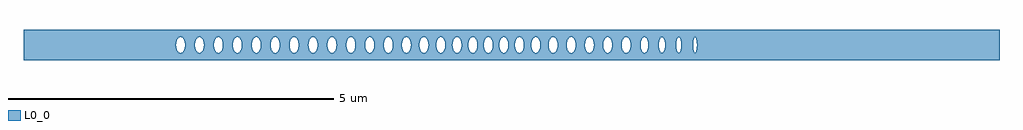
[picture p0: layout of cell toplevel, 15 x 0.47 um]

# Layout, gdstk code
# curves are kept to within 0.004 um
import gdstk
lib = gdstk.Library(unit=1e-6, precision=1e-09)
def P(c, l, *ps):  # polygons
    for p in ps: c.add(gdstk.Polygon(p, *l))
L0_0 = (0, 0)

toplevel = lib.new_cell('toplevel')
P(toplevel, L0_0, [(-4.574,0.016),(-4.559,0.078),(-4.559,0.235),(-7.5,0.235),(-7.5,-0.008),(-5.157,-0.008),(-5.155,0.031),(-5.141,0.079),(-5.12,0.109),(-5.091,0.124),(-5.064,0.118),(-5.041,0.096),(-5.022,0.053),(-5.016,-0.008),(-4.866,-0.008),(-4.864,0.031),(-4.85,0.079),(-4.829,0.109),(-4.8,0.124),(-4.774,0.118),(-4.75,0.096),(-4.738,0.073),(-4.725,0.016),(-4.728,-0.038),(-4.738,-0.073),(-4.761,-0.109),(-4.791,-0.124),(-4.817,-0.118),(-4.844,-0.09),(-4.861,-0.046),(-4.866,-0.008),(-5.016,-0.008),(-5.022,-0.053),(-5.041,-0.096),(-5.064,-0.118),(-5.082,-0.124),(-5.108,-0.118),(-5.131,-0.096),(-5.148,-0.06),(-5.157,-0.008),(-7.5,-0.008),(-7.5,-0.235),(-4.559,-0.235),(-4.559,-0.079),(-4.573,-0.031)],
  [(-4.556,0.085),(-4.526,0.118),(-4.509,0.124),(-4.491,0.122),(-4.467,0.105),(-4.447,0.073),(-4.437,0.038),(-4.434,-0.008),(-4.284,-0.008),(-4.281,0.038),(-4.259,0.096),(-4.227,0.122),(-4.2,0.122),(-4.176,0.105),(-4.159,0.079),(-4.145,0.031),(-4.143,-0.008),(-4.148,-0.046),(-4.162,-0.085),(-4.18,-0.109),(-4.209,-0.124),(-4.235,-0.118),(-4.259,-0.096),(-4.279,-0.046),(-4.284,-0.008),(-4.434,-0.008),(-4.447,-0.073),(-4.463,-0.1),(-4.483,-0.118),(-4.5,-0.124),(-4.526,-0.118),(-4.559,-0.079),(-4.559,-0.235),(-3.914,-0.235),(-3.914,-0.123),(-3.936,-0.122),(-3.968,-0.096),(-3.98,-0.073),(-3.993,-0.016),(-3.99,0.038),(-3.968,0.096),(-3.944,0.118),(-3.914,0.123),(-3.914,0.235),(-4.559,0.235)],
  [(-3.914,0.235),(-3.914,0.123),(-3.889,0.109),(-3.868,0.079),(-3.854,0.031),(-3.853,-0.016),(-3.702,-0.016),(-3.699,0.038),(-3.689,0.073),(-3.666,0.109),(-3.636,0.124),(-3.61,0.118),(-3.587,0.096),(-3.57,0.06),(-3.561,0.008),(-3.566,-0.046),(-3.58,-0.085),(-3.598,-0.109),(-3.627,-0.124),(-3.654,-0.118),(-3.677,-0.096),(-3.694,-0.06),(-3.702,-0.016),(-3.853,-0.016),(-3.871,-0.085),(-3.889,-0.109),(-3.914,-0.123),(-3.914,-0.235),(-3.281,-0.235),(-3.281,-0.066),(-3.307,-0.109),(-3.328,-0.122),(-3.354,-0.122),(-3.375,-0.109),(-3.392,-0.085),(-3.405,-0.053),(-3.411,-0.016),(-3.403,0.06),(-3.386,0.096),(-3.363,0.118),(-3.345,0.124),(-3.319,0.118),(-3.296,0.096),(-3.281,0.066),(-3.281,0.235)],
  [(-3.281,0.235),(-3.281,0.065),(-3.271,-0.016),(-3.12,-0.016),(-3.116,0.046),(-3.107,0.073),(-3.084,0.109),(-3.054,0.124),(-3.028,0.118),(-3.005,0.096),(-2.986,0.053),(-2.98,0),(-2.83,0),(-2.825,0.046),(-2.811,0.085),(-2.793,0.109),(-2.764,0.124),(-2.737,0.118),(-2.714,0.096),(-2.697,0.06),(-2.689,0.016),(-2.692,-0.038),(-2.702,-0.073),(-2.725,-0.109),(-2.755,-0.124),(-2.781,-0.118),(-2.811,-0.085),(-2.825,-0.046),(-2.83,0),(-2.98,0),(-2.986,-0.053),(-2.999,-0.085),(-3.016,-0.109),(-3.046,-0.124),(-3.072,-0.118),(-3.095,-0.096),(-3.112,-0.06),(-3.12,-0.016),(-3.271,-0.016),(-3.281,-0.066),(-3.281,-0.235),(-2.539,-0.235),(-2.539,0.235)],
  [(-2.537,0.023),(-2.53,0.06),(-2.513,0.096),(-2.49,0.118),(-2.464,0.124),(-2.434,0.109),(-2.417,0.085),(-2.401,0.038),(-2.398,-0.008),(-2.249,-0.008),(-2.246,0.038),(-2.227,0.09),(-2.2,0.118),(-2.183,0.124),(-2.165,0.122),(-2.145,0.109),(-2.127,0.085),(-2.109,0.023),(-2.113,-0.046),(-2.127,-0.085),(-2.145,-0.109),(-2.174,-0.124),(-2.209,-0.112),(-2.236,-0.073),(-2.249,-0.008),(-2.398,-0.008),(-2.403,-0.046),(-2.423,-0.096),(-2.446,-0.118),(-2.481,-0.122),(-2.502,-0.109),(-2.52,-0.085),(-2.534,-0.046),(-2.539,-0.008),(-2.539,-0.235),(-1.938,-0.235),(-1.938,-0.096),(-1.955,-0.06),(-1.963,-0.016),(-1.957,0.053),(-1.938,0.096),(-1.938,0.235),(-2.539,0.235)],
  [(-1.931,0.105),(-1.897,0.124),(-1.875,0.12),(-1.855,0.105),(-1.827,0.046),(-1.823,-0.016),(-1.685,-0.016),(-1.679,0.053),(-1.66,0.096),(-1.637,0.118),(-1.602,0.122),(-1.577,0.105),(-1.56,0.079),(-1.549,0.046),(-1.544,-0.008),(-1.549,-0.046),(-1.563,-0.085),(-1.581,-0.109),(-1.61,-0.124),(-1.637,-0.118),(-1.66,-0.096),(-1.677,-0.06),(-1.685,-0.016),(-1.823,-0.016),(-1.836,-0.073),(-1.848,-0.096),(-1.871,-0.118),(-1.906,-0.122),(-1.938,-0.096),(-1.938,-0.235),(-1.312,-0.235),(-1.312,-0.109),(-1.341,-0.124),(-1.359,-0.122),(-1.38,-0.109),(-1.403,-0.073),(-1.416,-0.016),(-1.41,0.053),(-1.384,0.105),(-1.35,0.124),(-1.333,0.122),(-1.312,0.109),(-1.312,0.235),(-1.938,0.235),(-1.938,0.096)],
  [(-1.312,0.235),(-1.312,0.109),(-1.284,0.06),(-1.276,-0.016),(-1.157,-0.016),(-1.154,0.038),(-1.144,0.073),(-1.121,0.109),(-1.091,0.124),(-1.065,0.118),(-1.038,0.09),(-1.021,0.046),(-1.016,0.008),(-1.018,-0.031),(-1.032,-0.079),(-1.053,-0.109),(-1.082,-0.124),(-1.108,-0.118),(-1.132,-0.096),(-1.144,-0.073),(-1.157,-0.016),(-1.276,-0.016),(-1.286,-0.066),(-1.312,-0.109),(-1.312,-0.235),(-0.769,-0.235),(-0.769,-0.031),(-0.777,-0.066),(-0.795,-0.1),(-0.815,-0.118),(-0.841,-0.124),(-0.859,-0.118),(-0.882,-0.096),(-0.899,-0.06),(-0.907,-0.016),(-0.904,0.038),(-0.894,0.073),(-0.875,0.105),(-0.85,0.122),(-0.824,0.122),(-0.799,0.105),(-0.782,0.079),(-0.769,0.031),(-0.769,0.235)],
  [(-0.766,0.008),(-0.766,-0.008),(-0.665,-0.008),(-0.66,0.046),(-0.646,0.085),(-0.616,0.118),(-0.59,0.124),(-0.56,0.109),(-0.537,0.073),(-0.527,0.038),(-0.524,-0.016),(-0.426,-0.016),(-0.42,0.053),(-0.401,0.096),(-0.369,0.122),(-0.338,0.12),(-0.304,0.085),(-0.286,0.016),(-0.294,-0.06),(-0.322,-0.109),(-0.351,-0.124),(-0.369,-0.122),(-0.39,-0.109),(-0.413,-0.073),(-0.426,-0.016),(-0.524,-0.016),(-0.532,-0.06),(-0.549,-0.096),(-0.572,-0.118),(-0.599,-0.124),(-0.628,-0.109),(-0.646,-0.085),(-0.66,-0.046),(-0.665,-0.008),(-0.766,-0.008),(-0.769,-0.235),(-0.18,-0.235),(-0.18,-0.06),(-0.189,-0.016),(-0.18,0.059),(-0.18,0.235),(-0.769,0.235)],
  [(0.304,0.016),(0.308,0.046),(0.325,0.09),(0.343,0.112),(0.369,0.124),(0.369,0.235),(-0.18,0.235),(-0.18,0.06),(-0.153,0.109),(-0.132,0.122),(-0.105,0.122),(-0.081,0.105),(-0.064,0.079),(-0.05,0.031),(-0.049,-0.016),(0.052,-0.016),(0.056,0.046),(0.071,0.085),(0.1,0.118),(0.126,0.124),(0.144,0.118),(0.167,0.096),(0.184,0.06),(0.192,0.016),(0.188,-0.046),(0.179,-0.073),(0.16,-0.105),(0.131,-0.123),(0.104,-0.12),(0.077,-0.096),(0.06,-0.06),(0.052,-0.016),(-0.049,-0.016),(-0.053,-0.046),(-0.07,-0.09),(-0.085,-0.109),(-0.114,-0.124),(-0.132,-0.122),(-0.153,-0.109),(-0.18,-0.06),(-0.18,-0.235),(0.369,-0.235),(0.369,-0.124),(0.343,-0.112),(0.316,-0.073),(0.305,-0.031)],
  [(0.443,-0.016),(0.435,-0.06),(0.418,-0.096),(0.395,-0.118),(0.369,-0.124),(0.369,-0.235),(0.969,-0.235),(0.969,-0.085),(0.935,-0.12),(0.913,-0.124),(0.895,-0.118),(0.879,-0.105),(0.86,-0.073),(0.847,-0.016),(0.855,0.06),(0.883,0.109),(0.904,0.122),(0.93,0.122),(0.951,0.109),(0.969,0.085),(0.969,0.235),(0.369,0.235),(0.369,0.124),(0.395,0.118),(0.422,0.09),(0.441,0.038),(0.444,0),(0.569,0),(0.574,0.046),(0.589,0.085),(0.606,0.109),(0.631,0.123),(0.653,0.122),(0.674,0.109),(0.702,0.06),(0.71,0.016),(0.704,-0.053),(0.685,-0.096),(0.653,-0.122),(0.622,-0.12),(0.595,-0.096),(0.574,-0.046),(0.569,0),(0.444,0)],
  [(0.969,0.235),(0.969,0.085),(0.983,0.046),(0.988,0),(1.127,0),(1.132,0.046),(1.147,0.085),(1.164,0.109),(1.194,0.124),(1.22,0.118),(1.243,0.096),(1.26,0.06),(1.268,0.016),(1.265,-0.038),(1.255,-0.073),(1.232,-0.109),(1.202,-0.124),(1.176,-0.118),(1.153,-0.096),(1.132,-0.046),(1.127,0),(0.988,0),(0.983,-0.046),(0.969,-0.085),(0.969,-0.235),(1.549,-0.235),(1.549,-0.016),(1.536,-0.073),(1.524,-0.096),(1.5,-0.118),(1.474,-0.124),(1.445,-0.109),(1.427,-0.085),(1.413,-0.046),(1.408,-0.008),(1.41,0.031),(1.424,0.079),(1.445,0.109),(1.474,0.124),(1.5,0.118),(1.524,0.096),(1.536,0.073),(1.549,0.016),(1.549,0.235)],
  [(1.831,-0.023),(1.824,-0.06),(1.807,-0.096),(1.784,-0.118),(1.758,-0.124),(1.74,-0.118),(1.717,-0.096),(1.7,-0.06),(1.692,-0.016),(1.549,-0.016),(1.549,-0.235),(2.309,-0.235),(2.309,-0.122),(2.297,-0.116),(2.28,-0.094),(2.262,-0.015),(2.265,0.038),(2.276,0.084),(2.288,0.107),(2.309,0.122),(2.309,0.235),(1.549,0.235),(1.549,-0.016),(1.692,-0.016),(1.695,0.038),(1.705,0.073),(1.728,0.109),(1.758,0.124),(1.784,0.118),(1.814,0.085),(1.828,0.046),(1.832,-0.015),(1.983,-0.015),(1.99,0.059),(2.008,0.1),(2.039,0.123),(2.066,0.114),(2.085,0.09),(2.094,0.066),(2.104,-0.008),(2.09,-0.078),(2.062,-0.117),(2.039,-0.123),(2.014,-0.108),(1.994,-0.072),(1.983,-0.015),(1.832,-0.015)],
  [(2.361,-0.038),(2.34,-0.103),(2.322,-0.12),(2.309,-0.122),(2.309,-0.235),(7.5,-0.235),(7.5,0.235),(2.309,0.235),(2.309,0.122),(2.328,0.116),(2.35,0.084),(2.362,0.03),(2.362,-0.023),(2.53,-0.023),(2.537,0.071),(2.548,0.102),(2.568,0.121),(2.588,0.11),(2.602,0.077),(2.61,0.03),(2.61,-0.022),(2.79,-0.022),(2.793,0.058),(2.807,0.109),(2.818,0.12),(2.826,0.118),(2.843,0.082),(2.851,0.022),(2.85,-0.037),(2.837,-0.101),(2.822,-0.12),(2.809,-0.112),(2.802,-0.097),(2.79,-0.022),(2.61,-0.022),(2.6,-0.083),(2.588,-0.11),(2.573,-0.121),(2.555,-0.113),(2.546,-0.098),(2.53,-0.023),(2.362,-0.023)])

lib.write_gds('toplevel.gds')
